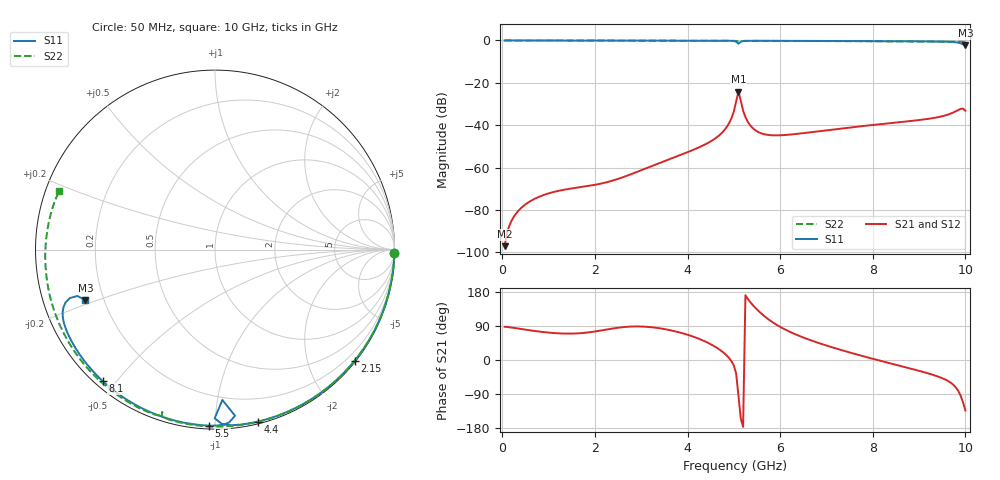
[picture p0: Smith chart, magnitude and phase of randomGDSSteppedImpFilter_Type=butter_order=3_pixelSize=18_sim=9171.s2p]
! freq	dB(S11)	phase(S11)	dB(S12)	phase(S12)
!  dB(S21)	phase(S21)	dB(S22)	phase(S22)
!S-par simulation data
#  GHz  S  DB  R 50
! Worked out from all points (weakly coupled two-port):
!   200 points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, 50 MHz to 10 GHz, reference 50 ohm
!   highest |S21| = -24.10 dB at 5.1 GHz (marker M1); lowest = -97.1 dB at 50 MHz (marker M2)
!   lowest |S11| = -2.2 dB at 10 GHz (marker M3), VSWR 7.90, Z = 6.55 - j9.24 ohm
!   |S11| at or under -10 dB: nowhere
!   |S22| runs from -0.7 to 0.0 dB; largest |S21 - S12| = 0
!   S11 on the Smith chart (normalised r, x): 50 MHz: open; 2.15 GHz: 0.03, -2.87; 4.4 GHz: 0.02, -1.28; 5.5 GHz: 0.02, -0.97; 8.1 GHz: 0.02, -0.46; 10 GHz: 0.13, -0.18
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0.05  -0.00 -0.9  -97.06 87.7  -97.06 87.7  -0.00 -1.2
0.35  -0.01 -6.4  -80.30 82.9  -80.30 82.9  -0.01 -8.1
0.9  -0.02 -16.3  -72.87 73.6  -72.87 73.6  -0.03 -20.6
1.75  -0.04 -31.4  -69.01 71.4  -69.01 71.4  -0.05 -39.7
2.15  -0.05 -38.4  -67.46 78.2  -67.46 78.2  -0.06 -48.4
3.4  -0.08 -59.7  -57.81 83.7  -57.81 83.7  -0.10 -74.7
4.4  -0.11 -76.1  -48.83 47.8  -48.83 47.8  -0.13 -94.6
4.85  -0.14 -83.9  -40.74 11.4  -40.74 11.4  -0.16 -103.4
4.95  -0.19 -86.2  -36.63 -3.3  -36.63 -3.3  -0.17 -105.4
5.05  -0.54 -90.1  -28.83 -35.6  -28.83 -35.6  -0.25 -107.8
5.1  -1.53 -87.2  -24.10 -93.5  -24.10 -93.5  -0.43 -108.0
5.15  -0.61 -83.1  -28.44 -154.3  -28.44 -154.3  -0.27 -108.0
5.25  -0.22 -86.9  -36.16 170.8  -36.16 170.8  -0.19 -110.2
5.35  -0.18 -89.2  -39.96 153.5  -39.96 153.5  -0.19 -112.3
5.5  -0.16 -91.9  -42.88 133.3  -42.88 133.3  -0.19 -115.2
5.9  -0.18 -98.3  -44.79 94.7  -44.79 94.7  -0.21 -122.6
6.7  -0.22 -110.3  -43.20 50.4  -43.20 50.4  -0.27 -137.3
8.1  -0.33 -130.6  -39.65 0.0  -39.65 0.0  -0.39 -162.9
8.35  -0.35 -134.2  -39.08 -7.9  -39.08 -7.9  -0.42 -167.6
9.7  -0.67 -156.4  -34.36 -61.4  -34.36 -61.4  -0.59 165.7
9.9  -1.38 -161.5  -32.25 -94.9  -32.25 -94.9  -0.63 161.4
10  -2.21 -158.7  -33.16 -133.2  -33.16 -133.2  -0.67 159.3
